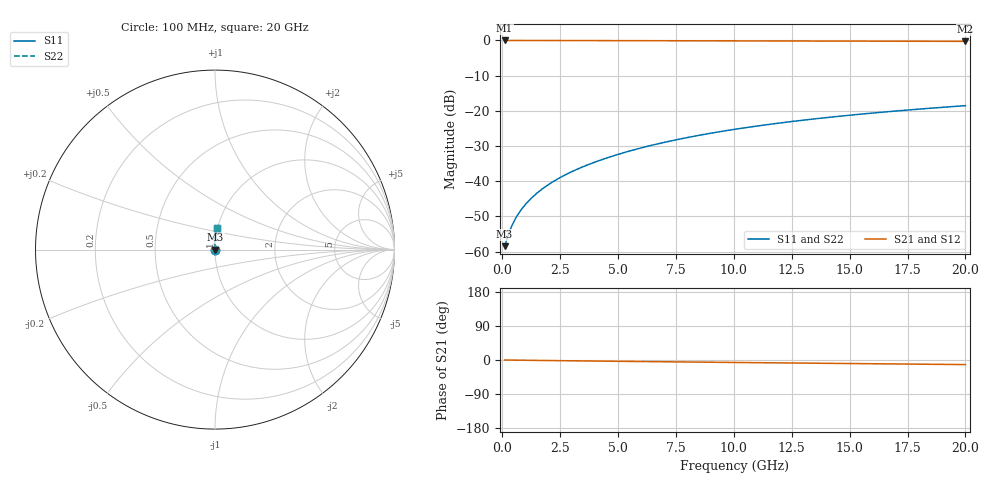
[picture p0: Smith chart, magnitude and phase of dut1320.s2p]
! Touchstone file exported from HFSS 2024.1.0
!  File:  C:/UserFiles/LocalFiles/RDL_TSV_Batchsim/temp_RDL_bottom_1320_1780368908.aedt
!  Generated:  10:57:44 AM Jun  2, 2026
!  Design:  RDL_bottom
!  Project:  temp_RDL_bottom_1320_1780368908
!  Setup:  Setup1
!  Solution:  Sweep
! Variables:
!  dtsv = 10.80580581um
!  hbump = 3um
!  htsv = 98.16um
!  ldown = 150.78um
!  lrdl = 100um
!  p = 40
!  p1 = 49.95um
!  rhole = 1um
!  t = 450um
!  tdown = 2.56um
!  trdl = 3.915915916um
!  wdown = 29.92um
!  wrdl = 20um
# GHz S MA R 50.000000
! Terminal data exported
! Port[1] = RDL1_T1
! Port[2] = RDL1_T2
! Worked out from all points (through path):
!   200 points, 100 MHz to 20 GHz, reference 50 ohm
!   highest |S21| = -0.01 dB at 100 MHz (marker M1); lowest = -0.3 dB at 20 GHz (marker M2)
!   group delay of S21, straight-line fit = 1.66 ps
!   lowest |S11| = -58.5 dB at 100 MHz (marker M3), VSWR 1.00, Z = 50.1 + j0.0519 ohm
!   |S11| at or under -10 dB: start of sweep to end of sweep
!   |S22| runs from -58.5 to -18.5 dB; largest |S21 - S12| = 2.6e-15
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0.1  0.001194 25.7  0.9989 -0.1  0.9989 -0.1  0.001194 25.7
! Gamma 0 0 0 0
! Port Impedance 50 0 50 0
0.3  0.001887 51.9  0.9988 -0.2  0.9988 -0.2  0.001887 51.9
0.4  0.002278 58.0  0.9987 -0.3  0.9987 -0.3  0.002278 58.0
0.5  0.002671 62.5  0.9987 -0.4  0.9987 -0.4  0.002671 62.5
0.6  0.003065 65.9  0.9986 -0.4  0.9986 -0.4  0.003065 65.9
0.8  0.003862 71.1  0.9985 -0.6  0.9985 -0.6  0.003862 71.1
1  0.004676 74.8  0.9983 -0.7  0.9983 -0.7  0.004676 74.8
1.2  0.005507 77.7  0.9982 -0.9  0.9982 -0.9  0.005507 77.7
1.7  0.007654 82.7  0.9978 -1.2  0.9978 -1.2  0.007654 82.7
2.2  0.009892 85.9  0.9973 -1.6  0.9973 -1.6  0.009892 85.9
2.8  0.01269 88.6  0.9966 -2.0  0.9966 -2.0  0.01269 88.6
3.5  0.01613 90.8  0.9957 -2.5  0.9957 -2.5  0.01613 90.8
4.2  0.01973 92.3  0.9946 -2.9  0.9946 -2.9  0.01973 92.3
5  0.02405 93.4  0.9933 -3.5  0.9933 -3.5  0.02405 93.4
5.9  0.02915 94.0  0.9917 -4.0  0.9917 -4.0  0.02915 94.0
6.8  0.03445 94.3  0.9901 -4.6  0.9901 -4.6  0.03445 94.3
8.4  0.04426 94.0  0.9872 -5.6  0.9872 -5.6  0.04426 94.0
10.1  0.05502 93.1  0.9843 -6.6  0.9843 -6.6  0.05501 93.1
11.7  0.06529 92.0  0.9817 -7.5  0.9817 -7.5  0.06529 92.0
13.4  0.07626 90.6  0.9791 -8.4  0.9791 -8.4  0.07626 90.6
16.7  0.09747 87.9  0.9745 -10.3  0.9745 -10.3  0.09746 87.9
20  0.1184 85.2  0.9702 -12.1  0.9702 -12.1  0.1184 85.2
